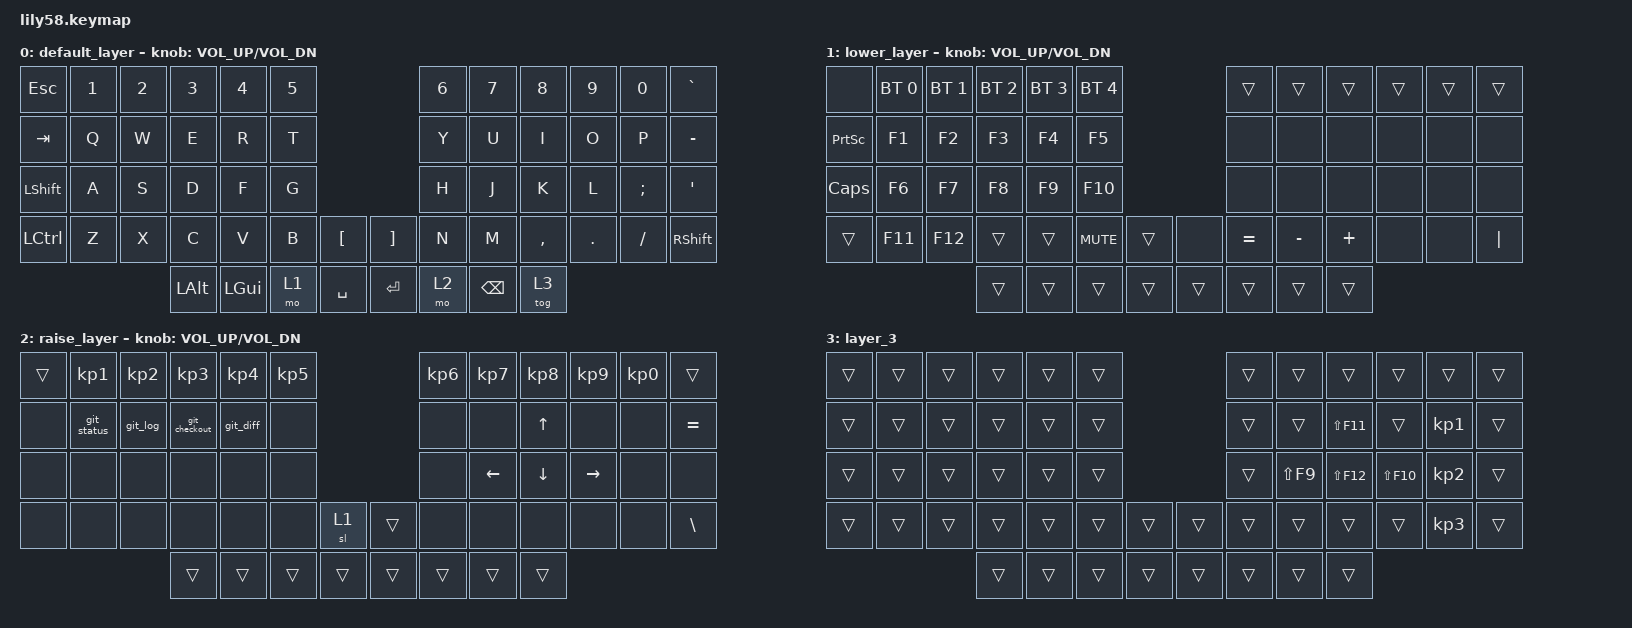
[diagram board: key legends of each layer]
/*
 * Copyright (c) 2020 The ZMK Contributors
 *
 * SPDX-License-Identifier: MIT
 */

#include <behaviors.dtsi>
#include <dt-bindings/zmk/bt.h>
#include <dt-bindings/zmk/keys.h>

/ {
    macros {
        git_status: special {
            compatible = "zmk,behavior-macro";
            #binding-cells = <0>;
            bindings = <&kp G &kp I &kp T &kp SPACE &kp S>;
            label = "SPECIAL";
        };

        git_log: git_log {
            compatible = "zmk,behavior-macro";
            #binding-cells = <0>;
            bindings = <&kp G &kp I &kp T &kp SPACE &kp L &kp O &kp G &kp SPACE &kp MINUS &kp MINUS &kp O &kp N &kp E &kp L &kp I &kp N &kp E>;
            label = "GIT_LOG";
        };

        git_checkout: git_checkout {
            compatible = "zmk,behavior-macro";
            #binding-cells = <0>;
            bindings = <&kp G &kp I &kp T &kp SPACE &kp C &kp H &kp E &kp C &kp K &kp O &kp U &kp T &kp SPACE &kp MINUS>;
            label = "GIT_CHECKOUT";
        };

        git_diff: git_diff {
            compatible = "zmk,behavior-macro";
            #binding-cells = <0>;
            bindings = <&kp G &kp I &kp T &kp SPACE &kp D &kp I &kp F &kp F>;
            label = "GIT_DIFF";
        };
    };

    keymap {
        compatible = "zmk,keymap";

        default_layer {
            // ------------------------------------------------------------------------------------------------------------
            // |  ESC  |  1  |  2  |  3   |  4   |  5   |                   |  6   |  7    |  8    |  9   |   0   |   `   |
            // |  TAB  |  Q  |  W  |  E   |  R   |  T   |                   |  Y   |  U    |  I    |  O   |   P   |   -   |
            // |  CTRL |  A  |  S  |  D   |  F   |  G   |                   |  H   |  J    |  K    |  L   |   ;   |   '   |
            // | SHIFT |  Z  |  X  |  C   |  V   |  B   |   "["  |  |  "]"  |  N   |  M    |  ,    |  .   |   /   | SHIFT |
            //                     | ALT  | GUI  | LOWER|  SPACE |  | ENTER | RAISE| BSPC  | GUI   |

            bindings = <
&kp ESC         &kp N1  &kp N2  &kp N3    &kp N4    &kp N5                         &kp N6  &kp N7    &kp N8     &kp N9   &kp N0    &kp GRAVE
&kp TAB         &kp Q   &kp W   &kp E     &kp R     &kp T                          &kp Y   &kp U     &kp I      &kp O    &kp P     &kp MINUS
&kp LEFT_SHIFT  &kp A   &kp S   &kp D     &kp F     &kp G                          &kp H   &kp J     &kp K      &kp L    &kp SEMI  &kp SQT
&kp LCTRL       &kp Z   &kp X   &kp C     &kp V     &kp B   &kp LBKT     &kp RBKT  &kp N   &kp M     &kp COMMA  &kp DOT  &kp FSLH  &kp RSHFT
                                &kp LALT  &kp LGUI  &mo 1   &kp SPACE    &kp RET   &mo 2   &kp BSPC  &tog 3
            >;

            sensor-bindings = <&inc_dec_kp C_VOL_UP C_VOL_DN>;
        };

        lower_layer {
            // ------------------------------------------------------------------------------------------------------------
            // | BTCLR | BT1 | BT2 |  BT3 |  BT4 |  BT5 |                   |      |       |       |      |       |       |
            // |  F1   |  F2 |  F3 |  F4  |  F5  |  F6  |                   |  F7  |  F8   |  F9   |  F10 |  F11  |  F12  |
            // |   `   |  !  |  @  |  #   |  $   |  %   |                   |  ^   |  &    |  *    |  (   |   )   |   ~   |
            // |       |     |     |      |      |      |        |  |       |      |  _    |  +    |  {   |   }   |  "|"  |
            //                     |      |      |      |        |  |       |      |       |       |

            bindings = <
&none            &bt BT_SEL 0  &bt BT_SEL 1  &bt BT_SEL 2  &bt BT_SEL 3  &bt BT_SEL 4                    &trans     &trans     &trans    &trans  &trans  &trans
&kp PRINTSCREEN  &kp F1        &kp F2        &kp F3        &kp F4        &kp F5                          &none      &none      &none     &none   &none   &none
&kp CLCK         &kp F6        &kp F7        &kp F8        &kp F9        &kp F10                         &none      &none      &none     &none   &none   &none
&trans           &kp F11       &kp F12       &trans        &trans        &kp K_MUTE    &trans    &none   &kp EQUAL  &kp MINUS  &kp PLUS  &none   &none   &kp PIPE
                                             &trans        &trans        &trans        &trans    &trans  &trans     &trans     &trans
            >;

            sensor-bindings = <&inc_dec_kp C_VOL_UP C_VOL_DN>;
        };

        raise_layer {
            // ------------------------------------------------------------------------------------------------------------
            // |       |     |     |      |      |      |                   |      |       |       |      |       |       |
            // |   `   |  1  |  2  |  3   |  4   |  5   |                   |  6   |   7   |   8   |  9   |   0   |       |
            // |   F1  |  F2 |  F3 |  F4  |  F5  |  F6  |                   |      |   <-  |   v   |  ^   |  ->   |       |
            // |   F7  |  F8 |  F9 |  F10 |  F11 |  F12 |        |  |       |  +   |   -   |   =   |  [   |   ]   |   \   |
            //                     |      |      |      |        |  |       |      |       |       |

            bindings = <
&trans  &kp KP_NUMBER_1  &kp KP_NUMBER_2  &kp KP_NUMBER_3  &kp KP_NUMBER_4  &kp KP_NUMBER_5                    &kp KP_NUMBER_6  &kp KP_NUMBER_7  &kp KP_NUMBER_8  &kp KP_NUMBER_9  &kp KP_NUMBER_0  &trans
&none   &git_status      &git_log         &git_checkout    &git_diff        &none                              &none            &none            &kp UP_ARROW     &none            &none            &kp EQUAL
&none   &none            &none            &none            &none            &none                              &none            &kp LEFT_ARROW   &kp DOWN_ARROW   &kp RIGHT_ARROW  &none            &none
&none   &none            &none            &none            &none            &none            &sl 1     &trans  &none            &none            &none            &none            &none            &kp BACKSLASH
                                          &trans           &trans           &trans           &trans    &trans  &trans           &trans           &trans
            >;

            sensor-bindings = <&inc_dec_kp C_VOL_UP C_VOL_DN>;
        };

        layer_3 {
            bindings = <
&trans  &trans  &trans  &trans  &trans  &trans                    &trans  &trans      &trans       &trans       &trans           &trans
&trans  &trans  &trans  &trans  &trans  &trans                    &trans  &trans      &kp LS(F11)  &trans       &kp KP_NUMBER_1  &trans
&trans  &trans  &trans  &trans  &trans  &trans                    &trans  &kp LS(F9)  &kp LS(F12)  &kp LS(F10)  &kp KP_NUMBER_2  &trans
&trans  &trans  &trans  &trans  &trans  &trans  &trans    &trans  &trans  &trans      &trans       &trans       &kp KP_NUMBER_3  &trans
                        &trans  &trans  &trans  &trans    &trans  &trans  &trans      &trans
            >;
        };
    };
};
